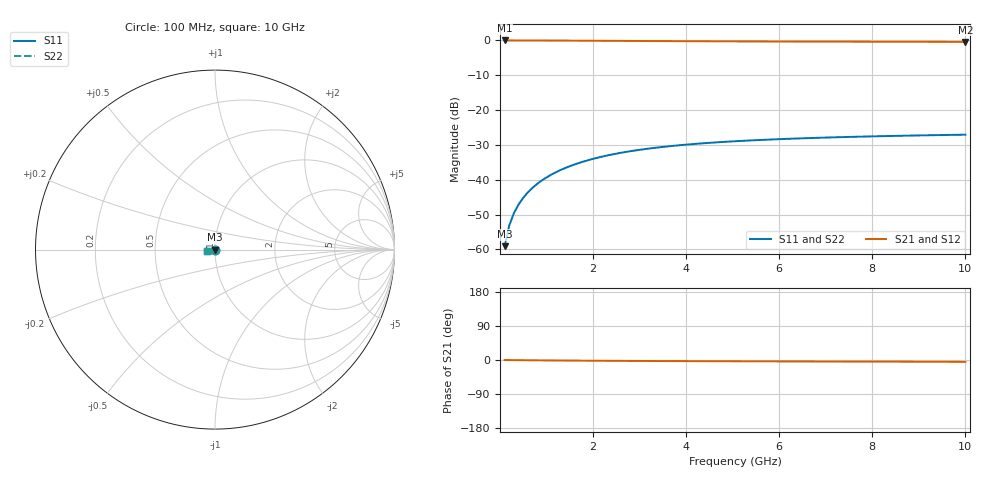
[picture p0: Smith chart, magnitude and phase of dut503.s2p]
! Touchstone file exported from HFSS 2024.1.0
!  File:  C:/UserFiles/LocalFiles/RDL_TSV_Batchsim/temp_TSV1_503_1779701548.aedt
!  Generated:  05:41:05 PM May 25, 2026
!  Design:  TSV1
!  Project:  temp_TSV1_503_1779701548
!  Setup:  Setup1
!  Solution:  Sweep
! Variables:
!  dtsv = 9.07um
!  hbump = 3um
!  htsv = 76.11um
!  lrdl = 252.1521522um
!  p = 40
!  p1 = 40.47um
!  t = 500um
!  trdl = 3um
!  wrdl = 24.89489489um
# GHz S MA R 50.000000
! Terminal data exported
! Port[1] = TSV22_T1
! Port[2] = TSV22_T2
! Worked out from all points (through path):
!   100 points, 100 MHz to 10 GHz, reference 50 ohm
!   highest |S21| = 0.00 dB at 100 MHz (marker M1); lowest = -0.4 dB at 10 GHz (marker M2)
!   lowest |S11| = -59.1 dB at 100 MHz (marker M3), VSWR 1.00, Z = 50 - j0.11 ohm
!   |S11| at or under -10 dB: start of sweep to end of sweep
!   |S22| runs from -59.1 to -27.1 dB; largest |S21 - S12| = 1.2e-14
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0.1  0.001111 -82.5  0.9998 -0.1  0.9998 -0.1  0.001111 -82.5
! Gamma 0 0 0 0
! Port Impedance 50 0 50 0
0.2  0.002208 -88.3  0.9997 -0.2  0.9997 -0.2  0.002208 -88.3
0.3  0.003311 -91.2  0.9995 -0.3  0.9995 -0.3  0.003311 -91.2
0.4  0.004411 -93.5  0.9993 -0.4  0.9993 -0.4  0.004411 -93.5
0.5  0.005505 -95.5  0.999 -0.5  0.999 -0.5  0.005505 -95.5
0.6  0.006589 -97.3  0.9987 -0.6  0.9987 -0.6  0.006589 -97.3
0.7  0.007661 -99.1  0.9983 -0.7  0.9983 -0.7  0.007661 -99.1
0.8  0.008719 -100.8  0.9979 -0.8  0.9979 -0.8  0.008719 -100.8
0.9  0.009762 -102.4  0.9974 -0.9  0.9974 -0.9  0.009762 -102.4
1.1  0.0118 -105.5  0.9964 -1.1  0.9964 -1.1  0.0118 -105.5
1.4  0.01471 -109.9  0.9945 -1.4  0.9945 -1.4  0.01471 -109.9
1.6  0.01654 -112.7  0.9931 -1.6  0.9931 -1.6  0.01654 -112.7
1.8  0.01829 -115.4  0.9917 -1.7  0.9917 -1.7  0.01829 -115.4
2.1  0.02074 -119.2  0.9894 -2.0  0.9894 -2.0  0.02074 -119.2
2.5  0.02368 -124.0  0.9863 -2.2  0.9863 -2.2  0.02368 -124.0
2.9  0.02628 -128.4  0.9832 -2.5  0.9832 -2.5  0.02628 -128.4
3.4  0.02908 -133.3  0.9796 -2.7  0.9796 -2.7  0.02908 -133.3
4.2  0.03271 -140.2  0.9744 -3.1  0.9744 -3.1  0.03272 -140.2
5.1  0.03584 -146.8  0.9695 -3.4  0.9695 -3.4  0.03584 -146.8
6.7  0.03973 -156.1  0.9629 -3.9  0.9629 -3.9  0.03973 -156.1
8.4  0.04249 -163.9  0.9582 -4.4  0.9582 -4.4  0.04249 -163.9
10  0.04435 -169.9  0.955 -4.8  0.955 -4.8  0.04435 -169.9
